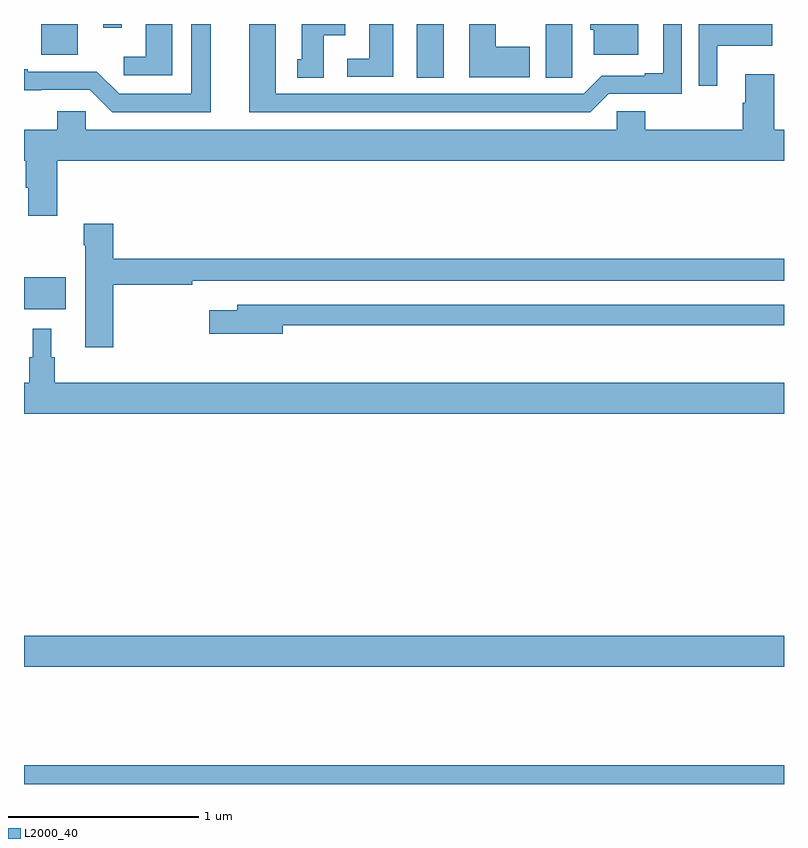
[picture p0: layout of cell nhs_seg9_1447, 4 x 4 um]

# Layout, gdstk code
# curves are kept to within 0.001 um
import gdstk
lib = gdstk.Library(unit=1e-6, precision=1e-09)
def R(c, l, rs):  # rectangles x0, y0, x1, y1
    for r in rs: c.add(gdstk.rectangle(r[:2], r[2:], *l))
def P(c, l, *ps):  # polygons
    for p in ps: c.add(gdstk.Polygon(p, *l))
L2000_40 = (2000, 40)

nhs_seg9_1447 = lib.new_cell('nhs_seg9_1447')
R(nhs_seg9_1447, L2000_40, [(193,1166.5,197,1166.6), (193,1167.116,197,1167.28), (193,1169,193.219,1169.166), (195.068,1170.217,195.208,1170.5), (193.091,1170.338,193.282,1170.5), (193.418,1170.48,193.515,1170.5)])
P(nhs_seg9_1447, L2000_40, [(194.944,1170.5),(194.816,1170.5),(194.816,1170.318),(194.7,1170.318),(194.7,1170.222),(194.944,1170.222)],
  [(194.578,1170.44),(194.692,1170.44),(194.692,1170.5),(194.462,1170.5),(194.462,1170.315),(194.438,1170.315),(194.438,1170.217),(194.578,1170.217)],
  [(196.077,1170.132),(196.461,1170.132),(196.461,1170.5),(196.364,1170.5),(196.364,1170.241),(196.268,1170.241),(196.268,1170.228),(196.041,1170.228),(195.945,1170.132),(194.326,1170.132),(194.326,1170.5),(194.186,1170.5),(194.186,1170.036),(195.981,1170.036)],
  [(193.78,1170.5),(193.64,1170.5),(193.64,1170.328),(193.524,1170.328),(193.524,1170.231),(193.78,1170.231)],
  [(195.661,1170.381),(195.484,1170.381),(195.484,1170.5),(195.344,1170.5),(195.344,1170.221),(195.661,1170.221)],
  [(195.885,1170.328),(195.886,1170.328),(195.886,1170.5),(195.746,1170.5),(195.746,1170.217),(195.885,1170.217)],
  [(196.648,1170.386),(196.939,1170.386),(196.939,1170.5),(196.551,1170.5),(196.551,1170.174),(196.648,1170.174)],
  [(193.984,1170.5),(193.88,1170.5),(193.88,1170.132),(193.5,1170.132),(193.383,1170.249),(193.021,1170.249),(193.021,1170.262),(193,1170.262),(193,1170.152),(193.347,1170.153),(193.464,1170.036),(193.984,1170.036)],
  [(196.234,1170.5),(195.98,1170.5),(195.98,1170.471),(195.998,1170.471),(195.998,1170.338),(196.234,1170.338)],
  [(193.175,1169.78),(197,1169.78),(197,1169.944),(196.949,1169.944),(196.949,1170.235),(196.796,1170.235),(196.796,1170.086),(196.784,1170.086),(196.784,1169.944),(196.271,1169.944),(196.271,1170.042),(196.119,1170.042),(196.119,1169.944),(193.326,1169.944),(193.326,1170.042),(193.175,1170.042),(193.175,1169.944),(193,1169.944),(193,1169.78),(193.01,1169.78),(193.01,1169.638),(193.022,1169.638),(193.022,1169.49),(193.175,1169.49)],
  [(193.469,1169.128),(193.886,1169.128),(193.886,1169.148),(197,1169.148),(197,1169.264),(193.469,1169.264),(193.469,1169.449),(193.315,1169.449),(193.315,1169.336),(193.322,1169.336),(193.322,1168.8),(193.469,1168.8)],
  [(194.362,1168.914),(197,1168.914),(197,1169.022),(194.123,1169.022),(194.123,1168.993),(193.974,1168.993),(193.974,1168.871),(194.362,1168.871)],
  [(197,1168.612),(193.163,1168.612),(193.163,1168.746),(193.144,1168.746),(193.144,1168.897),(193.046,1168.897),(193.046,1168.746),(193.027,1168.746),(193.027,1168.612),(193,1168.612),(193,1168.448),(197,1168.448)])

lib.write_gds('nhs_seg9_1447.gds')
